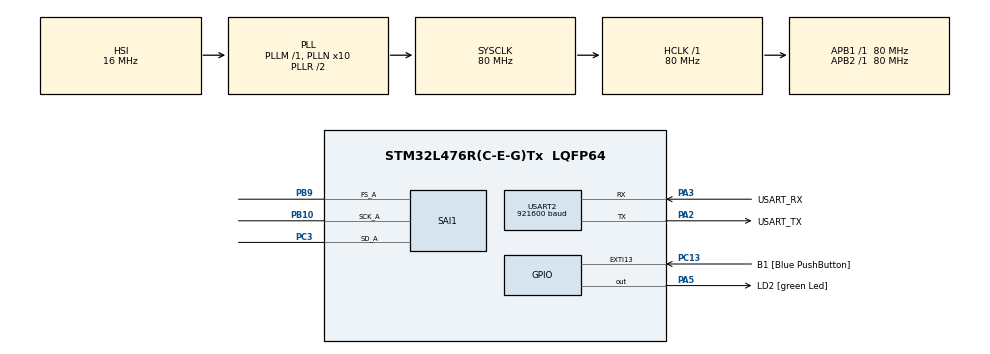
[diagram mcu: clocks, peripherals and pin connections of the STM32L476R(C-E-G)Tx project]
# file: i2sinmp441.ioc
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Dma.Request0=SAI1_A
Dma.SAI1_A.0.Direction=DMA_PERIPH_TO_MEMORY
Dma.SAI1_A.0.Instance=DMA2_Channel1
Dma.SAI1_A.0.MemDataAlignment=DMA_MDATAALIGN_WORD
Dma.SAI1_A.0.MemInc=DMA_MINC_ENABLE
Dma.SAI1_A.0.Mode=DMA_CIRCULAR
Dma.SAI1_A.0.PeriphDataAlignment=DMA_PDATAALIGN_WORD
Dma.SAI1_A.0.PeriphInc=DMA_PINC_DISABLE
Dma.SAI1_A.0.Priority=DMA_PRIORITY_LOW
Mcu.Family=STM32L4
Mcu.Name=STM32L476R(C-E-G)Tx
Mcu.Package=LQFP64
NVIC.DMA2_Channel1_IRQn=true\:0\:0\:false\:false\:true\:false\:true
NVIC.PriorityGroup=NVIC_PRIORITYGROUP_4
NVIC.SAI1_IRQn=true\:0\:0\:false\:false\:true\:true\:true
PA13\ (JTMS-SWDIO).GPIO_Label=TMS
PA13\ (JTMS-SWDIO).Mode=Serial_Wire
PA13\ (JTMS-SWDIO).Signal=SYS_JTMS-SWDIO
PA14\ (JTCK-SWCLK).GPIO_Label=TCK
PA14\ (JTCK-SWCLK).Mode=Serial_Wire
PA14\ (JTCK-SWCLK).Signal=SYS_JTCK-SWCLK
PA2.GPIO_Label=USART_TX
PA2.GPIO_Mode=GPIO_MODE_AF_PP
PA2.GPIO_PuPd=GPIO_NOPULL
PA2.GPIO_Speed=GPIO_SPEED_FREQ_VERY_HIGH
PA2.Mode=Asynchronous
PA2.Signal=USART2_TX
PA3.GPIO_Label=USART_RX
PA3.GPIO_Mode=GPIO_MODE_AF_PP
PA3.GPIO_PuPd=GPIO_NOPULL
PA3.GPIO_Speed=GPIO_SPEED_FREQ_VERY_HIGH
PA3.Mode=Asynchronous
PA3.Signal=USART2_RX
PA5.GPIO_Label=LD2 [green Led]
PA5.GPIO_ModeDefaultOutputPP=GPIO_MODE_OUTPUT_PP
PA5.GPIO_PuPd=GPIO_NOPULL
PA5.GPIO_Speed=GPIO_SPEED_FREQ_LOW
PA5.Signal=GPIO_Output
PB10.Mode=SAI_A_Master
PB10.Signal=SAI1_SCK_A
PB3\ (JTDO-TRACESWO).GPIO_Label=SWO
PB3\ (JTDO-TRACESWO).Signal=SYS_JTDO-SWO
PB9.Mode=SAI_A_Master
PB9.Signal=SAI1_FS_A
PC13.GPIO_Label=B1 [Blue PushButton]
PC13.GPIO_ModeDefaultEXTI=GPIO_MODE_IT_FALLING
PC13.GPIO_PuPd=GPIO_NOPULL
PC13.Signal=GPXTI13
PC14-OSC32_IN\ (PC14).Mode=LSE-External-Oscillator
PC14-OSC32_IN\ (PC14).Signal=RCC_OSC32_IN
PC15-OSC32_OUT\ (PC15).Mode=LSE-External-Oscillator
PC15-OSC32_OUT\ (PC15).Signal=RCC_OSC32_OUT
PC3.Mode=SAI_A_Master
PC3.Signal=SAI1_SD_A
PH0-OSC_IN\ (PH0).Signal=RCC_OSC_IN
PH1-OSC_OUT\ (PH1).Signal=RCC_OSC_OUT
ProjectManager.HeapSize=0x200
ProjectManager.StackSize=0x400
ProjectManager.TargetToolchain=STM32CubeIDE
RCC.ADCFreq_Value=64000000
RCC.AHBFreq_Value=80000000
RCC.APB1Freq_Value=80000000
RCC.APB1TimFreq_Value=80000000
RCC.APB2Freq_Value=80000000
RCC.APB2TimFreq_Value=80000000
RCC.CortexFreq_Value=80000000
RCC.HCLKFreq_Value=80000000
RCC.HSE_VALUE=8000000
RCC.HSI_VALUE=16000000
RCC.MSI_VALUE=4000000
RCC.PLLN=10
RCC.PLLSourceVirtual=RCC_PLLSOURCE_HSI
RCC.PREFETCH_ENABLE=1
RCC.SYSCLKFreq_VALUE=80000000
RCC.SYSCLKSource=RCC_SYSCLKSOURCE_PLLCLK
RCC.USBFreq_Value=64000000
RCC.VCOOutputFreq_Value=160000000
SAI1.AudioFrequency-SAI_A_Master=SAI_AUDIO_FREQUENCY_8K
SAI1.AudioMode-SAI_A_Master=SAI_MODEMASTER_RX
SAI1.BasicDataSize-SAI_A_Master=SAI_PROTOCOL_DATASIZE_24BIT
SAI1.ErrorAudioFreq-SAI_A_Master=11.6 %
SAI1.FIFOThreshold-SAI_A_Master=SAI_FIFOTHRESHOLD_EMPTY
SAI1.InitProtocol-SAI_A_Master=Enable
SAI1.Instance-SAI_A_Master=SAI$Index_Block_A
SAI1.MClockEnable-SAI_A_Master=SAI_MASTERCLOCK_DISABLE
SAI1.NoDivider-SAI_A_Master=SAI_MASTERDIVIDER_ENABLE
SAI1.OutputDrive-SAI_A_Master=SAI_OUTPUTDRIVE_DISABLE
SAI1.RealAudioFreq-SAI_A_Master=8.928 KHz
SAI1.VirtualMode-SAI_A_Master=VM_MASTER
SAI1.VirtualProtocol-SAI_A_BASIC=VM_BASIC_PROTOCOL
USART2.BaudRate=921600
USART2.VirtualMode-Asynchronous=VM_ASYNC
VP_SAI1_VP_$IpInstance_SAIA_SAI_BASIC.Mode=SAI_A_BASIC
board=NUCLEO-L476RG

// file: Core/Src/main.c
/* USER CODE BEGIN Header */
/**
  ******************************************************************************
  * @file           : main.c
  * @brief          : Main program body
  ******************************************************************************
  * @attention
  *
  * <h2><center>&copy; Copyright (c) 2022 STMicroelectronics.
  * All rights reserved.</center></h2>
  *
  * This software component is licensed by ST under BSD 3-Clause license,
  * the "License"; You may not use this file except in compliance with the
  * License. You may obtain a copy of the License at:
  *                        opensource.org/licenses/BSD-3-Clause
  *
  ******************************************************************************
  */
/* USER CODE END Header */
#include "main.h"

/* USER CODE BEGIN Includes */
#include <stdio.h>
#include <stdbool.h>

/* USER CODE END Includes */

/* USER CODE BEGIN PTD */
#define MIC_SAMPLE_FREQUENCY 8928
#define MIC_SAMPLES_PER_MS (MIC_SAMPLE_FREQUENCY/1000)  // == 48
#define MIC_NUM_CHANNELS 1
#define MIC_MS_PER_PACKET 20
#define MIC_SAMPLES_PER_PACKET (MIC_SAMPLES_PER_MS * MIC_MS_PER_PACKET) // == 960
/* USER CODE END PTD */

SAI_HandleTypeDef hsai_BlockA1;
DMA_HandleTypeDef hdma_sai1_a;

UART_HandleTypeDef huart2;

/* USER CODE BEGIN PV */
volatile int32_t *_sampleBuffer[MIC_SAMPLES_PER_PACKET * 2];
int16_t _processBuffer[MIC_SAMPLES_PER_PACKET];
int16_t _sendBuffer[MIC_SAMPLES_PER_PACKET];
bool _running;
/* USER CODE END PV */

void SystemClock_Config(void);
static void MX_GPIO_Init(void);
static void MX_DMA_Init(void);
static void MX_USART2_UART_Init(void);
static void MX_SAI1_Init(void);

int main(void)
{
  /* USER CODE BEGIN 1 */
	_running = false;
  /* USER CODE END 1 */

  /* MCU Configuration--------------------------------------------------------*/

  /* Reset of all peripherals, Initializes the Flash interface and the Systick. */
  HAL_Init();

  /* Configure the system clock */
  SystemClock_Config();

  /* Initialize all configured peripherals */
  MX_GPIO_Init();
  MX_DMA_Init();
  MX_USART2_UART_Init();
  MX_SAI1_Init();

  /* Infinite loop */
  while (1)
  {

  }
}

void SystemClock_Config(void)
{
  RCC_OscInitTypeDef RCC_OscInitStruct = {0};
  RCC_ClkInitTypeDef RCC_ClkInitStruct = {0};
  RCC_PeriphCLKInitTypeDef PeriphClkInit = {0};

  /** Initializes the RCC Oscillators according to the specified parameters
  * in the RCC_OscInitTypeDef structure.
  */
  RCC_OscInitStruct.OscillatorType = RCC_OSCILLATORTYPE_HSI;
  RCC_OscInitStruct.HSIState = RCC_HSI_ON;
  RCC_OscInitStruct.HSICalibrationValue = RCC_HSICALIBRATION_DEFAULT;
  RCC_OscInitStruct.PLL.PLLState = RCC_PLL_ON;
  RCC_OscInitStruct.PLL.PLLSource = RCC_PLLSOURCE_HSI;
  RCC_OscInitStruct.PLL.PLLM = 1;
  RCC_OscInitStruct.PLL.PLLN = 10;
  RCC_OscInitStruct.PLL.PLLP = RCC_PLLP_DIV7;
  RCC_OscInitStruct.PLL.PLLQ = RCC_PLLQ_DIV2;
  RCC_OscInitStruct.PLL.PLLR = RCC_PLLR_DIV2;
  if (HAL_RCC_OscConfig(&RCC_OscInitStruct) != HAL_OK)
  {
    Error_Handler();
  }
  /** Initializes the CPU, AHB and APB buses clocks
  */
  RCC_ClkInitStruct.ClockType = RCC_CLOCKTYPE_HCLK|RCC_CLOCKTYPE_SYSCLK
                              |RCC_CLOCKTYPE_PCLK1|RCC_CLOCKTYPE_PCLK2;
  RCC_ClkInitStruct.SYSCLKSource = RCC_SYSCLKSOURCE_PLLCLK;
  RCC_ClkInitStruct.AHBCLKDivider = RCC_SYSCLK_DIV1;
  RCC_ClkInitStruct.APB1CLKDivider = RCC_HCLK_DIV1;
  RCC_ClkInitStruct.APB2CLKDivider = RCC_HCLK_DIV1;

  if (HAL_RCC_ClockConfig(&RCC_ClkInitStruct, FLASH_LATENCY_4) != HAL_OK)
  {
    Error_Handler();
  }
  PeriphClkInit.PeriphClockSelection = RCC_PERIPHCLK_USART2|RCC_PERIPHCLK_SAI1;
  PeriphClkInit.Usart2ClockSelection = RCC_USART2CLKSOURCE_PCLK1;
  PeriphClkInit.Sai1ClockSelection = RCC_SAI1CLKSOURCE_PLLSAI1;
  PeriphClkInit.PLLSAI1.PLLSAI1Source = RCC_PLLSOURCE_HSI;
  PeriphClkInit.PLLSAI1.PLLSAI1M = 1;
  PeriphClkInit.PLLSAI1.PLLSAI1N = 8;
  PeriphClkInit.PLLSAI1.PLLSAI1P = RCC_PLLP_DIV7;
  PeriphClkInit.PLLSAI1.PLLSAI1Q = RCC_PLLQ_DIV2;
  PeriphClkInit.PLLSAI1.PLLSAI1R = RCC_PLLR_DIV2;
  PeriphClkInit.PLLSAI1.PLLSAI1ClockOut = RCC_PLLSAI1_SAI1CLK;
  if (HAL_RCCEx_PeriphCLKConfig(&PeriphClkInit) != HAL_OK)
  {
    Error_Handler();
  }
  /** Configure the main internal regulator output voltage
  */
  if (HAL_PWREx_ControlVoltageScaling(PWR_REGULATOR_VOLTAGE_SCALE1) != HAL_OK)
  {
    Error_Handler();
  }
}

static void MX_SAI1_Init(void)
{

  hsai_BlockA1.Instance = SAI1_Block_A;
  hsai_BlockA1.Init.AudioMode = SAI_MODEMASTER_RX;
  hsai_BlockA1.Init.Synchro = SAI_ASYNCHRONOUS;
  hsai_BlockA1.Init.OutputDrive = SAI_OUTPUTDRIVE_DISABLE;
  hsai_BlockA1.Init.NoDivider = SAI_MASTERDIVIDER_ENABLE;
  hsai_BlockA1.Init.FIFOThreshold = SAI_FIFOTHRESHOLD_EMPTY;
  hsai_BlockA1.Init.AudioFrequency = SAI_AUDIO_FREQUENCY_8K;
  hsai_BlockA1.Init.SynchroExt = SAI_SYNCEXT_DISABLE;
  hsai_BlockA1.Init.MonoStereoMode = SAI_STEREOMODE;
  hsai_BlockA1.Init.CompandingMode = SAI_NOCOMPANDING;
  if (HAL_SAI_InitProtocol(&hsai_BlockA1, SAI_I2S_STANDARD, SAI_PROTOCOL_DATASIZE_24BIT, 2) != HAL_OK)
  {
    Error_Handler();
  }
  /* USER CODE BEGIN SAI1_Init 2 */
  if ((HAL_SAI_Receive_DMA(&hsai_BlockA1, (uint8_t*) _sampleBuffer, MIC_SAMPLES_PER_PACKET * 2)) == HAL_OK) {
	  _running = true;
  }
  /* USER CODE END SAI1_Init 2 */

}

static void MX_USART2_UART_Init(void)
{

  huart2.Instance = USART2;
  huart2.Init.BaudRate = 921600;
  huart2.Init.WordLength = UART_WORDLENGTH_8B;
  huart2.Init.StopBits = UART_STOPBITS_1;
  huart2.Init.Parity = UART_PARITY_NONE;
  huart2.Init.Mode = UART_MODE_TX_RX;
  huart2.Init.HwFlowCtl = UART_HWCONTROL_NONE;
  huart2.Init.OverSampling = UART_OVERSAMPLING_16;
  huart2.Init.OneBitSampling = UART_ONE_BIT_SAMPLE_DISABLE;
  huart2.AdvancedInit.AdvFeatureInit = UART_ADVFEATURE_NO_INIT;
  if (HAL_UART_Init(&huart2) != HAL_OK)
  {
    Error_Handler();
  }

}

static void MX_DMA_Init(void)
{

  /* DMA controller clock enable */
  __HAL_RCC_DMA2_CLK_ENABLE();

  /* DMA interrupt init */
  /* DMA2_Channel1_IRQn interrupt configuration */
  HAL_NVIC_SetPriority(DMA2_Channel1_IRQn, 0, 0);
  HAL_NVIC_EnableIRQ(DMA2_Channel1_IRQn);

}

static void MX_GPIO_Init(void)
{
  GPIO_InitTypeDef GPIO_InitStruct = {0};

  /* GPIO Ports Clock Enable */
  __HAL_RCC_GPIOC_CLK_ENABLE();
  __HAL_RCC_GPIOH_CLK_ENABLE();
  __HAL_RCC_GPIOA_CLK_ENABLE();
  __HAL_RCC_GPIOB_CLK_ENABLE();

  /*Configure GPIO pin Output Level */
  HAL_GPIO_WritePin(LD2_GPIO_Port, LD2_Pin, GPIO_PIN_RESET);

  /*Configure GPIO pin : B1_Pin */
  GPIO_InitStruct.Pin = B1_Pin;
  GPIO_InitStruct.Mode = GPIO_MODE_IT_FALLING;
  GPIO_InitStruct.Pull = GPIO_NOPULL;
  HAL_GPIO_Init(B1_GPIO_Port, &GPIO_InitStruct);

  /*Configure GPIO pin : LD2_Pin */
  GPIO_InitStruct.Pin = LD2_Pin;
  GPIO_InitStruct.Mode = GPIO_MODE_OUTPUT_PP;
  GPIO_InitStruct.Pull = GPIO_NOPULL;
  GPIO_InitStruct.Speed = GPIO_SPEED_FREQ_LOW;
  HAL_GPIO_Init(LD2_GPIO_Port, &GPIO_InitStruct);

}

/* USER CODE BEGIN 4 */
void HAL_SAI_RxHalfCpltCallback(SAI_HandleTypeDef *hsai) {
	sendData(_sampleBuffer, _sendBuffer);
}

void HAL_SAI_RxCpltCallback(SAI_HandleTypeDef *hsai) {
	sendData(&_sampleBuffer[MIC_SAMPLES_PER_PACKET], &_sendBuffer[MIC_SAMPLES_PER_PACKET / 2]);
}

void sendData(volatile int32_t *data_in, int16_t *data_out) {

  if (_running) {

      int16_t *dest = _processBuffer;

      for (uint16_t i = 0; i < MIC_SAMPLES_PER_PACKET / 2; i++) {

        // dither the LSB with a random bit

        int16_t sample = (data_in[0] & 0xfffffffe) | (rand() & 1);

        *dest++ = sample;     // left channel has data
        *dest++ = sample;     // right channel is duplicated from the left
        data_in += 2;
      }

      int16_t *src = _processBuffer;
      dest = data_out;

      for (uint16_t i = 0; i < MIC_SAMPLES_PER_PACKET / 2; i++) {
        *dest++ = *src;
        src += 2;
      }

    // send the adjusted data to the host

    if ((HAL_UART_Transmit(&huart2, (uint8_t *) data_out, MIC_SAMPLES_PER_PACKET, HAL_MAX_DELAY)) != HAL_OK){
      Error_Handler();
    }
  }
}

/* USER CODE END 4 */

void Error_Handler(void)
{
  __disable_irq();
  while (1)
  {
  }
}

/************************ (C) COPYRIGHT STMicroelectronics *****END OF FILE****/
